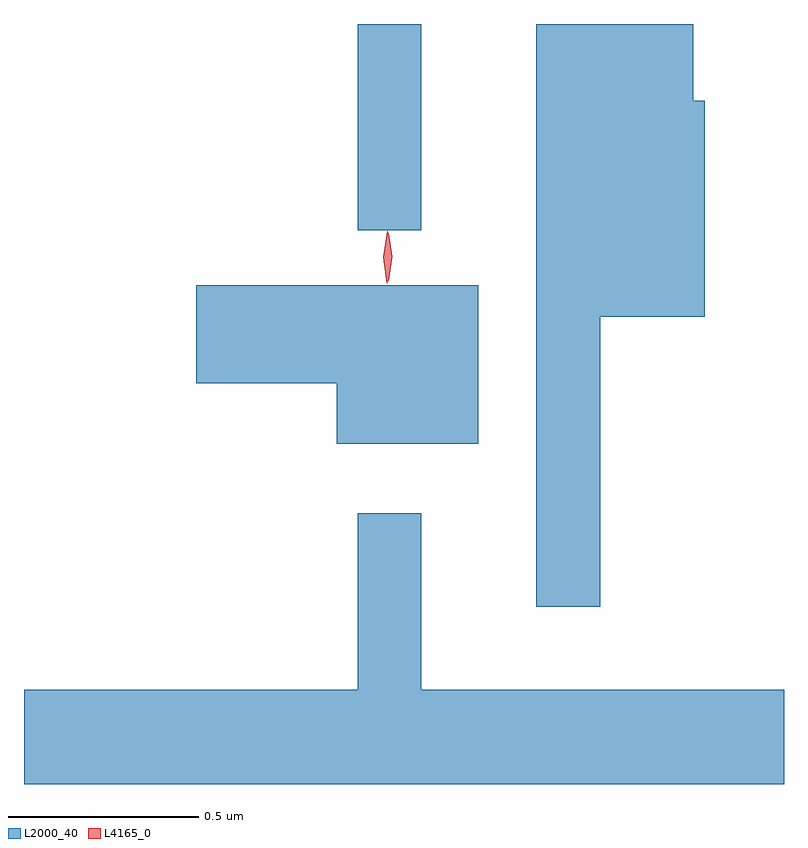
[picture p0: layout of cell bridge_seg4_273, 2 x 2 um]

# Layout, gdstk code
import gdstk
lib = gdstk.Library(unit=1e-6, precision=1e-09)
def R(c, l, rs):  # rectangles x0, y0, x1, y1
    for r in rs: c.add(gdstk.rectangle(r[:2], r[2:], *l))
def P(c, l, *ps):  # polygons
    for p in ps: c.add(gdstk.Polygon(p, *l))
L2000_40 = (2000, 40)
L4165_0 = (4165, 0)

bridge_seg4_273 = lib.new_cell('bridge_seg4_273')
R(bridge_seg4_273, L2000_40, [(537.251,1371.693,537.419,1372.236)])
P(bridge_seg4_273, L2000_40, [(537.889,1371.466),(538.164,1371.466),(538.164,1372.034),(538.134,1372.034),(538.134,1372.236),(537.721,1372.236),(537.721,1370.703),(537.889,1370.703)],
  [(537.569,1371.549),(536.826,1371.549),(536.826,1371.291),(537.196,1371.291),(537.196,1371.131),(537.569,1371.131)],
  [(538.373,1370.484),(537.419,1370.484),(537.419,1370.948),(537.251,1370.948),(537.251,1370.484),(536.373,1370.484),(536.373,1370.236),(538.373,1370.236)])
P(bridge_seg4_273, L4165_0, [(537.332,1371.56),(537.332,1371.56),(537.322,1371.623),(537.332,1371.686),(537.332,1371.687),(537.333,1371.686),(537.342,1371.623),(537.333,1371.56)],
  [(537.328,1371.554),(537.328,1371.554),(537.319,1371.622),(537.329,1371.69),(537.33,1371.69),(537.33,1371.69),(537.339,1371.622),(537.329,1371.554)])

lib.write_gds('bridge_seg4_273.gds')
